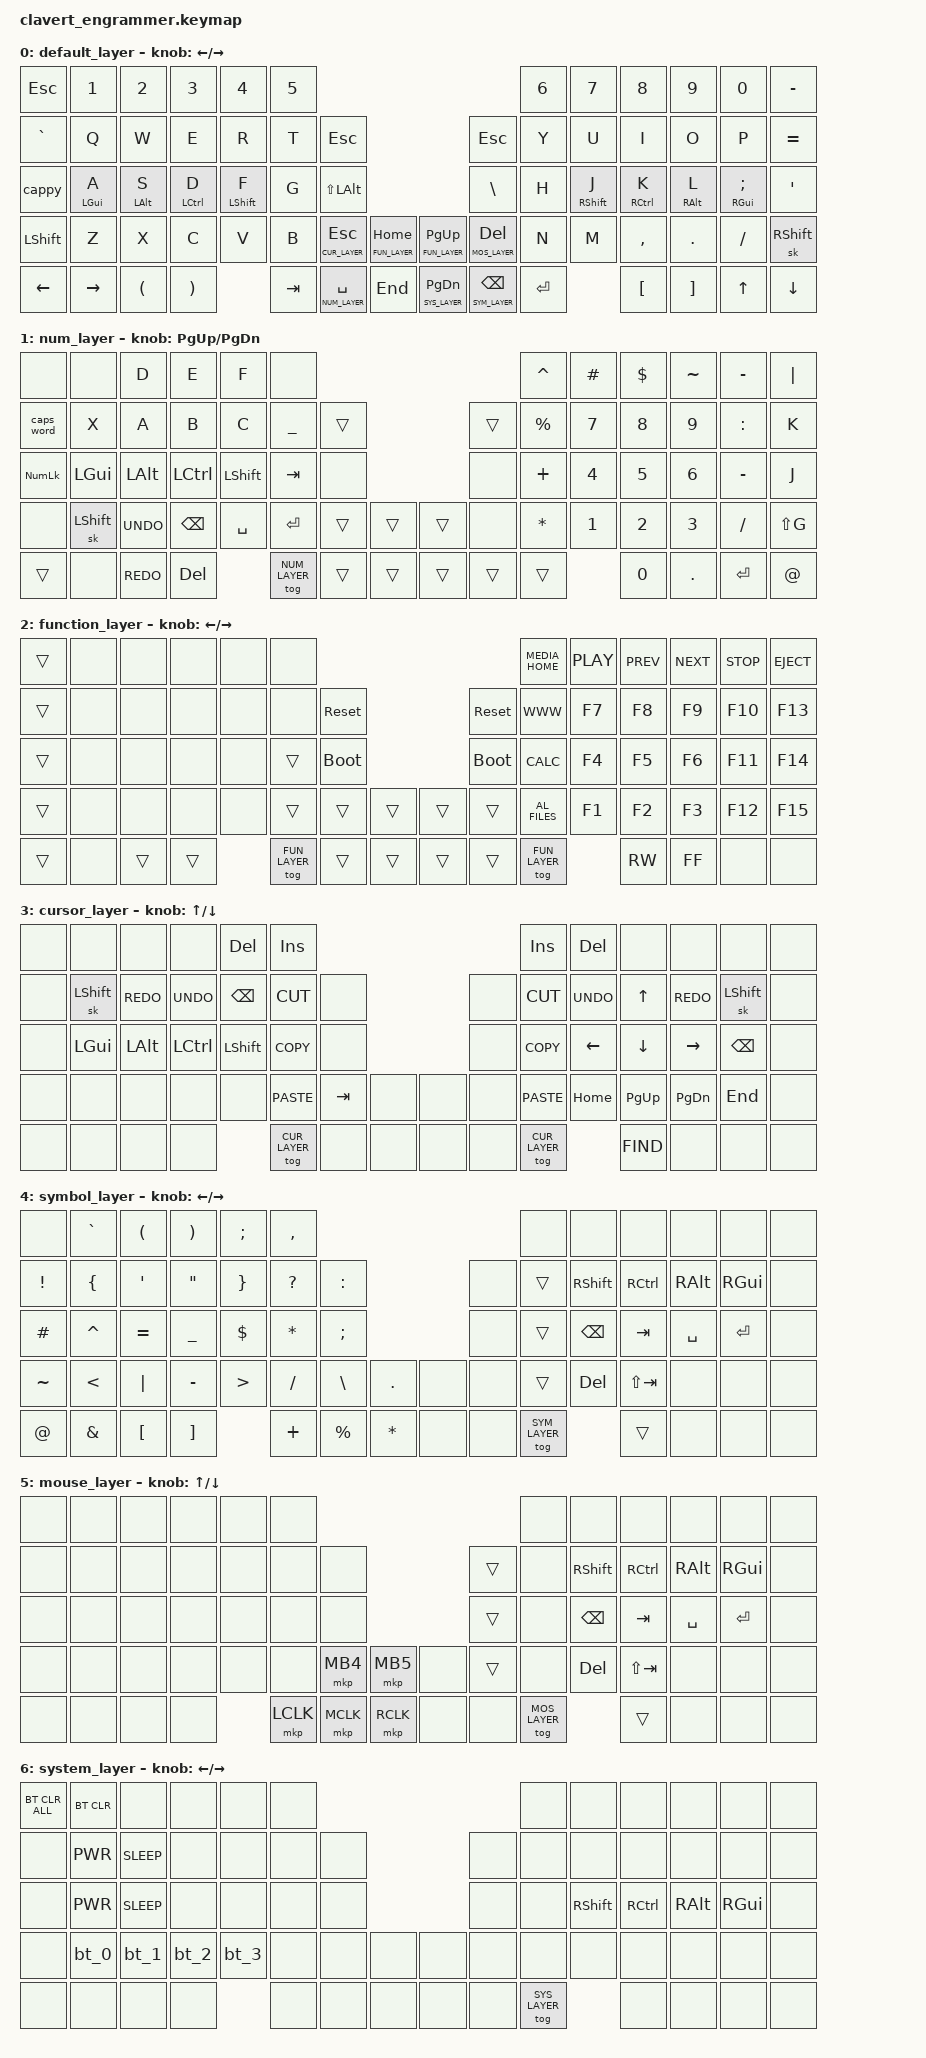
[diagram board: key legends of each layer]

  /*
  * Copyright (c) 2020 The ZMK Contributors
  *
  * SPDX-License-Identifier: MIT
  */

  #include <behaviors.dtsi>
  #include <dt-bindings/zmk/outputs.h>
  #include <dt-bindings/zmk/keys.h>
  #include <dt-bindings/zmk/bt.h>
  #include <dt-bindings/zmk/ext_power.h>
  #include <dt-bindings/zmk/mouse.h>

  #define DEF_LAYER 0
  #define NUM_LAYER 1
  #define FUN_LAYER 2
  #define CUR_LAYER 3
  #define SYM_LAYER 4
  #define MOS_LAYER 5
  #define SYS_LAYER 6

  &sk {
    release-after-ms = <2000>;
    quick-release;
    /delete-property/ ignore-modifiers;
  };
  &caps_word {
    continue-list = <
            UNDERSCORE MINUS
            BACKSPACE DELETE
            N1 N2 N3 N4 N5 N6 N7 N8 N9 N0
    >;
  };
  / {
    behaviors {
      hm: homerow_mods {
              compatible = "zmk,behavior-hold-tap";
              #binding-cells = <2>;
              tapping-term-ms = <150>;
              quick-tap-ms = <0>;
              flavor = "tap-preferred";
              bindings = <&kp>, <&kp>;
          };
      cappy: capsword_and_capslock {
        compatible = "zmk,behavior-mod-morph";
        label = "CAPSWORD_AND_CAPSLOCK";
        #binding-cells = <0>;
        bindings = <&caps_word>, <&kp CAPSLOCK>;
        mods = <(MOD_LSFT|MOD_RSFT)>;
      };

      bt_0: bt_0 {
            compatible = "zmk,behavior-tap-dance";
            // label = "BT_0";
            #binding-cells = <0>;
            tapping-term-ms = <200>;
            bindings = <&bt_select_0>, <&bt BT_DISC 0>;
      };
      bt_1: bt_1 {
          compatible = "zmk,behavior-tap-dance";
          // label = "BT_1";
          #binding-cells = <0>;
          tapping-term-ms = <200>;
          bindings = <&bt_select_1>, <&bt BT_DISC 1>;
      };
      bt_2: bt_2 {
          compatible = "zmk,behavior-tap-dance";
          // label = "BT_2";
          #binding-cells = <0>;
          tapping-term-ms = <200>;
          bindings = <&bt_select_2>, <&bt BT_DISC 2>;
      };
      bt_3: bt_3 {
          compatible = "zmk,behavior-tap-dance";
          // label = "BT_3";
          #binding-cells = <0>;
          tapping-term-ms = <200>;
          bindings = <&bt_select_3>, <&bt BT_DISC 3>;
      };
    };
    macros {
        bt_select_0: bt_select_0 {
            label = "BT_SELECT_0";
            compatible = "zmk,behavior-macro";
            #binding-cells = <0>;
            bindings
                = <&out OUT_BLE>,
                  <&bt BT_SEL 0>;
        };
        bt_select_1: bt_select_1 {
            label = "BT_SELECT_1";
            compatible = "zmk,behavior-macro";
            #binding-cells = <0>;
            bindings
                = <&out OUT_BLE>,
                  <&bt BT_SEL 1>;
        };
        bt_select_2: bt_select_2 {
            label = "BT_SELECT_2";
            compatible = "zmk,behavior-macro";
            #binding-cells = <0>;
            bindings
                = <&out OUT_BLE>,
                  <&bt BT_SEL 2>;
        };
        bt_select_3: bt_select_3 {
            label = "BT_SELECT_3";
            compatible = "zmk,behavior-macro";
            #binding-cells = <0>;
            bindings
                = <&out OUT_BLE>,
                  <&bt BT_SEL 3>;
        };
    };
  };
  / {
    keymap {
      compatible = "zmk,keymap";
      default_layer {
        // -----------------------------------------------------------------------------------------------------------------------------------------
        // | =          | 1     | 2    | 3    | 4   | 5   |                                                  | 6   | 7   | 8   | 9   | 0   | \     |
        // | ~          | B     | Y    | O    | U   | '   | ESC      |                            | ESC      | ;   | L   | D   | W   | V   | Z    |
        // | LCTRL      | C     | I    | E    | A   | ,   | LS(LALT) |                            | \        | .   | H   | T   | S   | N   | Q     |
        // | LSHFT      | G     | X    | J    | K   | -   | LtFN DEL | HOME      |  | PG_UP       | LtFN F12 | /   | R  | M   | F   | P   | RSHFT |
        // | LtNUM LEFT | RIGHT | LALT | LGUI | SPACE     | BSPC     | LtNAV END |  | LtNAV PG_DN | DEL      | ENTER     | [   | ]   | UP  | DOWN  |
                  bindings = <
          &kp ESC           &kp N1     &kp N2      &kp N3      &kp N4      &kp N5                                                                                           &kp N6    &kp N7      &kp N8      &kp N9      &kp N0        &kp MINUS
          &kp GRAVE         &kp Q      &kp W       &kp E       &kp R       &kp T      &kp ESC                                                         &kp ESC               &kp Y     &kp U       &kp I       &kp O       &kp P         &kp EQUAL
          &cappy            &hm LGUI A &hm LALT S  &hm LCTRL D &hm LSHFT F &kp G      &kp LS(LALT)                                                    &kp BSLH              &kp H     &hm RSHFT J &hm RCTRL K &hm RALT L  &hm RGUI SEMI &kp SQT
          &kp LSHFT         &kp Z      &kp X       &kp C       &kp V       &kp B      &lt CUR_LAYER ESC     &lt FUN_LAYER HOME  &lt FUN_LAYER PG_UP   &lt MOS_LAYER DEL     &kp N     &kp M       &kp COMMA   &kp DOT     &kp SLASH     &sk RSHFT
          &kp LEFT          &kp RIGHT  &kp LPAR    &kp RPAR                &kp TAB    &lt NUM_LAYER SPACE   &kp END             &lt SYS_LAYER PG_DN   &lt SYM_LAYER BSPC    &kp ENTER             &kp LBKT    &kp RBKT    &kp UP        &kp DOWN
        >;

        sensor-bindings = <&inc_dec_kp LEFT RIGHT>;
      };





      num_layer {
        // -------------------------------------------------------------------------------------------------------------------------------
        // | none  | none | none  | none  | none  | none |                                  | none  | NUMLOCK | /   | *   | -     | none |
        // | trans | none | none  | none  | none  | none | trans |                  | trans | none  | 7       | 8   | 9   | +     | none |
        // | trans | none | none  | none  | none  | none | none  |                  | none  | none  | 4       | 5   | 6   | +     | none |
        // | trans | none | none  | none  | none  | none | trans | trans |  | trans | trans | none  | 1       | 2   | 3   | ENTER | none |
        // | trans | none | trans | trans | trans        | trans | trans |  | trans | trans | trans           | 0   | .   | ENTER | none |
            bindings = <
        &none       &none       &kp D       &kp E       &kp F       &none                                               &kp CARET &kp HASH    &kp DLLR    &kp TILDE   &kp MINUS   &kp PIPE
        &caps_word  &kp X       &kp A       &kp B       &kp C       &kp UNDER       &trans                      &trans  &kp PRCNT &kp N7      &kp N8      &kp N9      &kp COLON   &kp K
        &kp KP_NUM  &kp LGUI    &kp LALT    &kp LCTRL   &kp LSHFT   &kp TAB         &none                       &none   &kp PLUS  &kp N4      &kp N5      &kp N6      &kp MINUS   &kp J
        &none       &sk LSHFT   &kp K_UNDO  &kp BSPC    &kp SPACE   &kp RET         &trans    &trans    &trans  &none   &kp STAR  &kp N1      &kp N2      &kp N3      &kp FSLH    &kp LS(G)
        &trans      &none       &kp K_REDO  &kp DEL                 &tog NUM_LAYER  &trans    &trans    &trans  &trans  &trans                &kp N0      &kp DOT     &kp ENTER   &kp AT
            >;
            sensor-bindings = <&inc_dec_kp PG_UP PG_DN>;
      };

    function_layer {
  // --------------------------------------------------------------------------------------------------------------------------------------------------
  // | none  | F1   | F2    | F3    | F4    | F5         |                                  | F6         | F7     | F8     | F9      | F10  | F11  |
  // | trans | none | {     | }     | none  | none       | trans |                  | trans | none       | BT_CLR | BT_PRV | BT_NXT  | none | F12  |
  // | trans | none | (     | )     | none  | reset      | none  |                  | none  | reset      | none   | none   | none    | none | PLAY |
  // | trans | none | [     | ]     | none  | bootloader | trans | trans |  | trans | trans | bootloader | none   | none   | none    | none | none |
  // | trans | none | trans | trans | trans              | trans | trans |  | trans | trans | trans               | REWIND | FASTFWR | none | none |
          bindings = <
              &trans  &none  &none  &none   &none   &none                                                     &kp C_MEDIA_HOME  &kp C_PLAY    &kp C_PREV    &kp C_NEXT  &kp C_STOP    &kp C_EJECT
              &trans  &none  &none  &none   &none   &none           &sys_reset                  &sys_reset    &kp K_WWW         &kp F7        &kp F8        &kp F9      &kp F10       &kp F13
              &trans  &none  &none  &none   &none   &trans          &bootloader                 &bootloader   &kp K_CALC        &kp F4        &kp F5        &kp F6      &kp F11       &kp F14
              &trans  &none  &none  &none   &none   &trans          &trans   &trans    &trans   &trans        &kp C_AL_FILES    &kp F1        &kp F2        &kp F3      &kp F12       &kp F15
              &trans  &none  &trans &trans          &tog FUN_LAYER  &trans   &trans    &trans   &trans        &tog FUN_LAYER                  &kp C_RW      &kp C_FF    &none         &none
          >;
          sensor-bindings = <&inc_dec_kp LEFT RIGHT>;
        };

      cursor_layer {
        bindings = <
          &none  &none      &none       &none       &kp DEL     &kp INS                                        &kp INS     &kp DEL    &none       &none       &none       &none
          &none  &sk LSHFT  &kp K_REDO  &kp K_UNDO  &kp BSPC    &kp K_CUT       &none                   &none  &kp K_CUT   &kp K_UNDO &kp UP      &kp K_REDO  &sk LSHFT   &none
          &none  &kp LGUI   &kp LALT    &kp LCTRL   &kp LSHFT   &kp K_COPY      &none                   &none  &kp K_COPY  &kp LEFT   &kp DOWN    &kp RIGHT   &kp BSPC    &none
          &none  &none      &none       &none       &none       &kp K_PASTE     &kp TAB   &none  &none  &none  &kp K_PASTE &kp HOME   &kp PG_UP   &kp PG_DN   &kp END     &none
          &none  &none      &none       &none                   &tog CUR_LAYER  &none     &none  &none  &none  &tog CUR_LAYER         &kp K_FIND  &none       &none       &none
        >;
        sensor-bindings = <&inc_dec_kp UP DOWN>;
      };



    symbol_layer {
       bindings = <
          &none     &kp GRAVE &kp LPAR   &kp RPAR   &kp SEMI  &kp COMMA                                         &none   &none      &none        &none     &none     &none
          &kp EXCL  &kp LBRC  &kp SQT    &kp DQT    &kp RBRC  &kp QMARK  &kp COLON                      &none   &trans  &kp RSHFT  &kp RCTRL    &kp RALT  &kp RGUI  &none
          &kp HASH  &kp CARET &kp EQUAL  &kp UNDER  &kp DLLR  &kp STAR   &kp SEMI                       &none   &trans  &kp BSPC   &kp TAB      &kp SPACE &kp RET   &none
          &kp TILDE &kp LT    &kp PIPE   &kp MINUS  &kp GT    &kp FSLH   &kp BSLH    &kp DOT    &none   &none   &trans  &kp DEL    &kp LS(TAB)  &none     &none     &none
          &kp AT    &kp AMPS  &kp LBKT   &kp RBKT             &kp PLUS   &kp PRCNT   &kp STAR   &none   &none   &tog SYM_LAYER     &trans       &none     &none     &none
      >;

      sensor-bindings = <&inc_dec_kp LEFT RIGHT>;
    };

    // wait for mouse support
     mouse_layer {
        bindings = <
          &none  &none      &none       &none       &none   &none                                           &none      &none      &none        &none     &none     &none
          &none  &none      &none       &none       &none   &none       &none                       &trans  &none      &kp RSHFT  &kp RCTRL    &kp RALT  &kp RGUI  &none
          &none  &none      &none       &none       &none   &none       &none                       &trans  &none      &kp BSPC   &kp TAB      &kp SPACE &kp RET   &none
          &none  &none      &none       &none       &none   &none       &mkp MB4  &mkp MB5    &none &trans  &none      &kp DEL    &kp LS(TAB)  &none     &none     &none
          &none  &none      &none       &none               &mkp LCLK   &mkp MCLK &mkp RCLK   &none &none   &tog MOS_LAYER        &trans       &none     &none     &none
        >;
        sensor-bindings = <&inc_dec_kp UP DOWN>;
      };

     system_layer {
        bindings = <
          &bt BT_CLR_ALL  &bt BT_CLR  &none       &none &none  &none                                 &none  &none     &none      &none     &none      &none
          &none           &kp C_PWR   &kp C_SLEEP &none &none  &none    &none                &none   &none  &none     &none      &none     &none      &none
          &none           &kp K_PWR   &kp K_SLEEP &none &none  &none    &none                &none   &none  &kp RSHFT &kp RCTRL  &kp RALT  &kp RGUI   &none
          &none           &bt_0       &bt_1       &bt_2 &bt_3  &none    &none  &none  &none  &none   &none  &none     &none      &none     &none      &none
          &none           &none       &none       &none        &none    &none  &none  &none  &none   &tog SYS_LAYER   &none      &none     &none      &none
        >;
        sensor-bindings = <&inc_dec_kp LEFT RIGHT>;
      };
    };
  };
